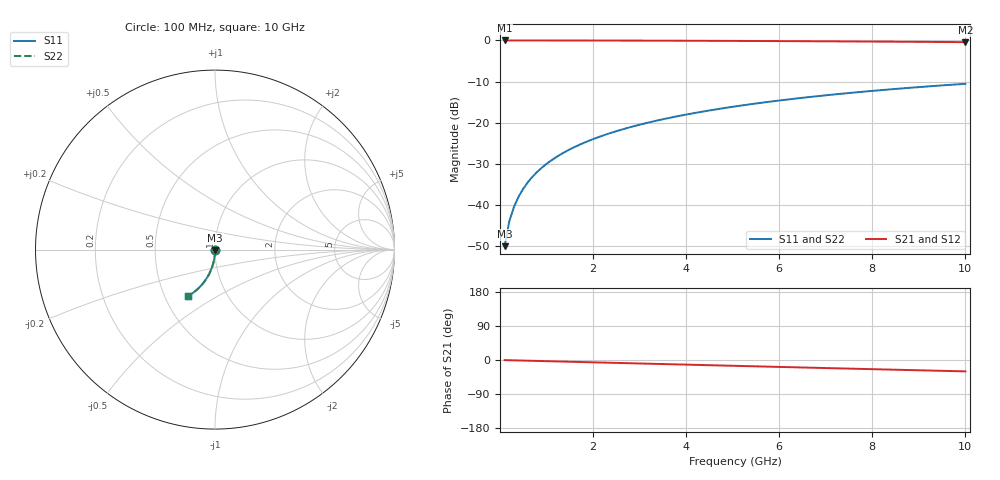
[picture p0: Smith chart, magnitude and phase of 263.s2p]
# Hz S RI R 50.00
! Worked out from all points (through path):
!   100 points, 100 MHz to 10 GHz, reference 50 ohm
!   highest |S21| = 0.00 dB at 100 MHz (marker M1); lowest = -0.4 dB at 10 GHz (marker M2)
!   group delay of S21, straight-line fit = 8.36 ps
!   lowest |S11| = -49.9 dB at 100 MHz (marker M3), VSWR 1.01, Z = 50 - j0.318 ohm
!   |S11| at or under -10 dB: start of sweep to end of sweep
!   |S22| runs from -49.9 to -10.5 dB; largest |S21 - S12| = 0
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1e8  0.000279 -0.00318  0.9997 -0.00533  0.9997 -0.00533  0.000279 -0.00318
2e8  0.000227 -0.00636  0.9996 -0.0107  0.9996 -0.0107  0.000227 -0.00636
3e8  0.000139 -0.00953  0.9995 -0.016  0.9995 -0.016  0.000139 -0.00953
4e8  1.77e-05 -0.0127  0.9994 -0.0213  0.9994 -0.0213  1.77e-05 -0.0127
5e8  -0.000138 -0.0159  0.9992 -0.0267  0.9992 -0.0267  -0.000138 -0.0159
6e8  -0.000327 -0.0191  0.999 -0.032  0.999 -0.032  -0.000327 -0.0191
7e8  -0.000551 -0.0222  0.9987 -0.0373  0.9987 -0.0373  -0.000551 -0.0222
8e8  -0.000808 -0.0254  0.9984 -0.0426  0.9984 -0.0426  -0.000808 -0.0254
9e8  -0.0011 -0.0286  0.9981 -0.048  0.9981 -0.048  -0.0011 -0.0286
1.1e9  -0.00178 -0.0349  0.9973 -0.0586  0.9973 -0.0586  -0.00178 -0.0349
1.4e9  -0.00306 -0.0444  0.9959 -0.0745  0.9959 -0.0745  -0.00306 -0.0444
1.8e9  -0.00524 -0.0569  0.9934 -0.0957  0.9934 -0.0957  -0.00524 -0.0569
2.1e9  -0.00722 -0.0662  0.9911 -0.1115  0.9911 -0.1115  -0.00722 -0.0662
2.5e9  -0.0103 -0.0786  0.9876 -0.1325  0.9876 -0.1325  -0.0103 -0.0786
2.9e9  -0.0139 -0.0907  0.9834 -0.1534  0.9834 -0.1534  -0.0139 -0.0907
3.4e9  -0.0192 -0.1057  0.9775 -0.1792  0.9775 -0.1792  -0.0192 -0.1057
4.2e9  -0.0292 -0.129  0.966 -0.2198  0.966 -0.2198  -0.0292 -0.129
5.1e9  -0.0427 -0.1539  0.9505 -0.2644  0.9505 -0.2644  -0.0427 -0.1539
5.9e9  -0.0565 -0.1748  0.9345 -0.3029  0.9345 -0.3029  -0.0565 -0.1748
6.7e9  -0.072 -0.1943  0.9167 -0.34  0.9167 -0.34  -0.072 -0.1943
8.4e9  -0.1094 -0.2307  0.873 -0.414  0.873 -0.414  -0.1094 -0.2307
1e10  -0.1489 -0.2578  0.826 -0.4771  0.826 -0.4771  -0.1489 -0.2578
